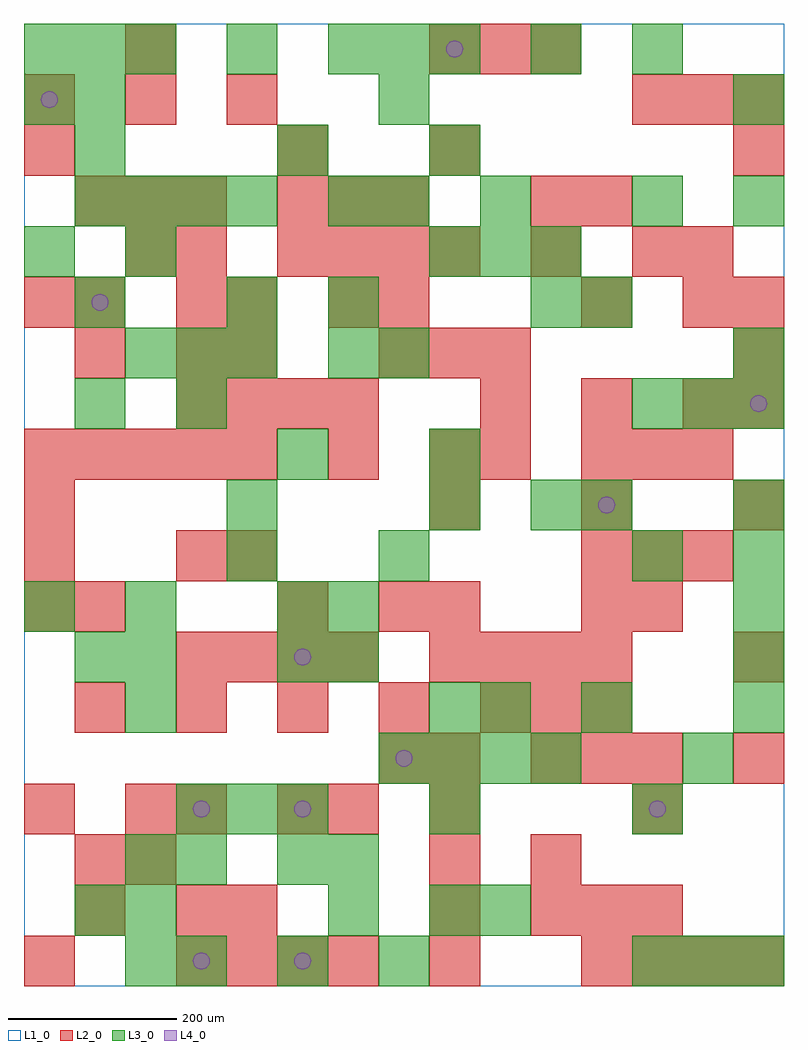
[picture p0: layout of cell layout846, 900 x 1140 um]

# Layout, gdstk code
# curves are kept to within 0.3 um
import gdstk
lib = gdstk.Library(unit=1e-6, precision=1e-09)
def R(c, l, rs):  # rectangles x0, y0, x1, y1
    for r in rs: c.add(gdstk.rectangle(r[:2], r[2:], *l))
def A(c, l, x, y, w, h, nx, ny, dx, dy):  # array of equal rectangles
    R(c, l, [(x+i*dx, y+j*dy, x+i*dx+w, y+j*dy+h) for i in range(nx) for j in range(ny)])
def P(c, l, *ps):  # polygons
    for p in ps: c.add(gdstk.Polygon(p, *l))
L1_0 = (1, 0)
L2_0 = (2, 0)
L3_0 = (3, 0)
L4_0 = (4, 0)

layout846 = lib.new_cell('layout846')
R(layout846, L1_0, [(0,0,900,1140)])
A(layout846, L2_0, 180, 0, 60, 60, 4, 2, 60, 360)
A(layout846, L2_0, 480, 0, 60, 60, 1, 5, 0, 60)
A(layout846, L2_0, 660, 0, 60, 60, 4, 1, 60, 0)
A(layout846, L2_0, 600, 60, 60, 60, 3, 2, 60, 180)
A(layout846, L2_0, 60, 120, 60, 60, 1, 3, 0, 300)
A(layout846, L2_0, 60, 300, 60, 60, 5, 1, 120, 0)
A(layout846, L2_0, 480, 360, 60, 60, 4, 1, 60, 0)
A(layout846, L2_0, 0, 420, 60, 60, 1, 3, 0, 60)
A(layout846, L2_0, 660, 480, 60, 60, 3, 2, 60, 120)
A(layout846, L2_0, 480, 540, 60, 60, 3, 1, 180, 0)
A(layout846, L2_0, 0, 600, 60, 60, 5, 1, 60, 0)
A(layout846, L2_0, 180, 660, 60, 60, 4, 1, 60, 0)
A(layout846, L2_0, 540, 660, 60, 60, 3, 1, 120, 0)
A(layout846, L2_0, 840, 660, 60, 60, 1, 3, 0, 60)
A(layout846, L2_0, 180, 720, 60, 60, 1, 3, 0, 60)
A(layout846, L2_0, 420, 720, 60, 60, 3, 1, 60, 0)
A(layout846, L2_0, 300, 840, 60, 60, 4, 1, 60, 0)
A(layout846, L2_0, 60, 900, 60, 60, 3, 1, 60, 0)
A(layout846, L2_0, 300, 900, 60, 60, 3, 1, 60, 0)
A(layout846, L2_0, 0, 1020, 60, 60, 3, 1, 120, 0)
A(layout846, L2_0, 720, 1020, 60, 60, 3, 1, 60, 0)
A(layout846, L2_0, 480, 1080, 60, 60, 3, 1, 60, 0)
R(layout846, L2_0, [(0,0,60,60), (60,60,120,120), (180,60,240,120), (240,60,300,120), (120,120,180,180), (600,120,660,180), (0,180,60,240), (120,180,180,240), (180,180,240,240), (300,180,360,240), (360,180,420,240), (720,180,780,240), (420,240,480,300), (840,240,900,300), (600,300,660,360), (660,300,720,360), (840,360,900,420), (300,420,360,480), (420,420,480,480), (480,420,540,480), (660,420,720,480), (720,420,780,480), (180,480,240,540), (240,480,300,540), (360,600,420,660), (480,600,540,660), (540,600,600,660), (240,720,300,780), (0,780,60,840), (60,780,120,840), (240,780,300,840), (360,780,420,840), (420,780,480,840), (660,780,720,840), (780,780,840,840), (120,840,180,900), (600,840,660,900), (720,840,780,900), (780,840,840,900), (600,900,660,960), (660,900,720,960), (0,960,60,1020), (300,960,360,1020), (480,960,540,1020), (840,960,900,1020), (120,1080,180,1140)])
A(layout846, L3_0, 120, 0, 60, 60, 1, 3, 0, 60)
A(layout846, L3_0, 180, 0, 60, 60, 3, 1, 120, 0)
A(layout846, L3_0, 720, 0, 60, 60, 3, 2, 60, 660)
A(layout846, L3_0, 60, 60, 60, 60, 1, 3, 0, 300)
A(layout846, L3_0, 480, 60, 60, 60, 1, 3, 0, 120)
A(layout846, L3_0, 180, 180, 60, 60, 3, 1, 60, 0)
A(layout846, L3_0, 420, 240, 60, 60, 4, 1, 60, 0)
A(layout846, L3_0, 120, 300, 60, 60, 1, 3, 0, 60)
A(layout846, L3_0, 660, 300, 60, 60, 1, 3, 0, 240)
A(layout846, L3_0, 840, 300, 60, 60, 1, 5, 0, 60)
A(layout846, L3_0, 120, 720, 60, 60, 3, 1, 60, 0)
A(layout846, L3_0, 480, 840, 60, 60, 3, 1, 60, 0)
A(layout846, L3_0, 60, 900, 60, 60, 4, 1, 60, 0)
A(layout846, L3_0, 0, 1080, 60, 60, 3, 1, 60, 0)
A(layout846, L3_0, 360, 1080, 60, 60, 3, 1, 60, 0)
R(layout846, L3_0, [(360,60,420,120), (540,60,600,120), (180,120,240,180), (300,120,360,180), (360,120,420,180), (720,180,780,240), (780,240,840,300), (540,300,600,360), (300,360,360,420), (360,360,420,420), (0,420,60,480), (300,420,360,480), (360,420,420,480), (240,480,300,540), (420,480,480,540), (720,480,780,540), (240,540,300,600), (480,540,540,600), (600,540,660,600), (300,600,360,660), (480,600,540,660), (180,660,240,720), (360,720,420,780), (420,720,480,780), (840,720,900,780), (60,780,120,840), (240,780,300,840), (360,780,420,840), (600,780,660,840), (0,840,60,900), (120,840,180,900), (360,900,420,960), (420,900,480,960), (540,900,600,960), (720,900,780,960), (840,900,900,960), (60,960,120,1020), (300,960,360,1020), (480,960,540,1020), (0,1020,60,1080), (60,1020,120,1080), (420,1020,480,1080), (840,1020,900,1080), (240,1080,300,1140), (600,1080,660,1140), (720,1080,780,1140)])
P(layout846, L4_0, [(40,1050),(39.239,1053.827),(37.071,1057.071),(33.827,1059.239),(30,1060),(26.173,1059.239),(22.929,1057.071),(20.761,1053.827),(20,1050),(20.761,1046.173),(22.929,1042.929),(26.173,1040.761),(30,1040),(33.827,1040.761),(37.071,1042.929),(39.239,1046.173)],
  [(100,810),(99.239,813.827),(97.071,817.071),(93.827,819.239),(90,820),(86.173,819.239),(82.929,817.071),(80.761,813.827),(80,810),(80.761,806.173),(82.929,802.929),(86.173,800.761),(90,800),(93.827,800.761),(97.071,802.929),(99.239,806.173)],
  [(220,30),(219.239,33.827),(217.071,37.071),(213.827,39.239),(210,40),(206.173,39.239),(202.929,37.071),(200.761,33.827),(200,30),(200.761,26.173),(202.929,22.929),(206.173,20.761),(210,20),(213.827,20.761),(217.071,22.929),(219.239,26.173)],
  [(220,210),(219.239,213.827),(217.071,217.071),(213.827,219.239),(210,220),(206.173,219.239),(202.929,217.071),(200.761,213.827),(200,210),(200.761,206.173),(202.929,202.929),(206.173,200.761),(210,200),(213.827,200.761),(217.071,202.929),(219.239,206.173)],
  [(340,30),(339.239,33.827),(337.071,37.071),(333.827,39.239),(330,40),(326.173,39.239),(322.929,37.071),(320.761,33.827),(320,30),(320.761,26.173),(322.929,22.929),(326.173,20.761),(330,20),(333.827,20.761),(337.071,22.929),(339.239,26.173)],
  [(340,210),(339.239,213.827),(337.071,217.071),(333.827,219.239),(330,220),(326.173,219.239),(322.929,217.071),(320.761,213.827),(320,210),(320.761,206.173),(322.929,202.929),(326.173,200.761),(330,200),(333.827,200.761),(337.071,202.929),(339.239,206.173)],
  [(340,390),(339.239,393.827),(337.071,397.071),(333.827,399.239),(330,400),(326.173,399.239),(322.929,397.071),(320.761,393.827),(320,390),(320.761,386.173),(322.929,382.929),(326.173,380.761),(330,380),(333.827,380.761),(337.071,382.929),(339.239,386.173)],
  [(460,270),(459.239,273.827),(457.071,277.071),(453.827,279.239),(450,280),(446.173,279.239),(442.929,277.071),(440.761,273.827),(440,270),(440.761,266.173),(442.929,262.929),(446.173,260.761),(450,260),(453.827,260.761),(457.071,262.929),(459.239,266.173)],
  [(520,1110),(519.239,1113.827),(517.071,1117.071),(513.827,1119.239),(510,1120),(506.173,1119.239),(502.929,1117.071),(500.761,1113.827),(500,1110),(500.761,1106.173),(502.929,1102.929),(506.173,1100.761),(510,1100),(513.827,1100.761),(517.071,1102.929),(519.239,1106.173)],
  [(700,570),(699.239,573.827),(697.071,577.071),(693.827,579.239),(690,580),(686.173,579.239),(682.929,577.071),(680.761,573.827),(680,570),(680.761,566.173),(682.929,562.929),(686.173,560.761),(690,560),(693.827,560.761),(697.071,562.929),(699.239,566.173)],
  [(760,210),(759.239,213.827),(757.071,217.071),(753.827,219.239),(750,220),(746.173,219.239),(742.929,217.071),(740.761,213.827),(740,210),(740.761,206.173),(742.929,202.929),(746.173,200.761),(750,200),(753.827,200.761),(757.071,202.929),(759.239,206.173)],
  [(880,690),(879.239,693.827),(877.071,697.071),(873.827,699.239),(870,700),(866.173,699.239),(862.929,697.071),(860.761,693.827),(860,690),(860.761,686.173),(862.929,682.929),(866.173,680.761),(870,680),(873.827,680.761),(877.071,682.929),(879.239,686.173)])

lib.write_gds('layout846.gds')
